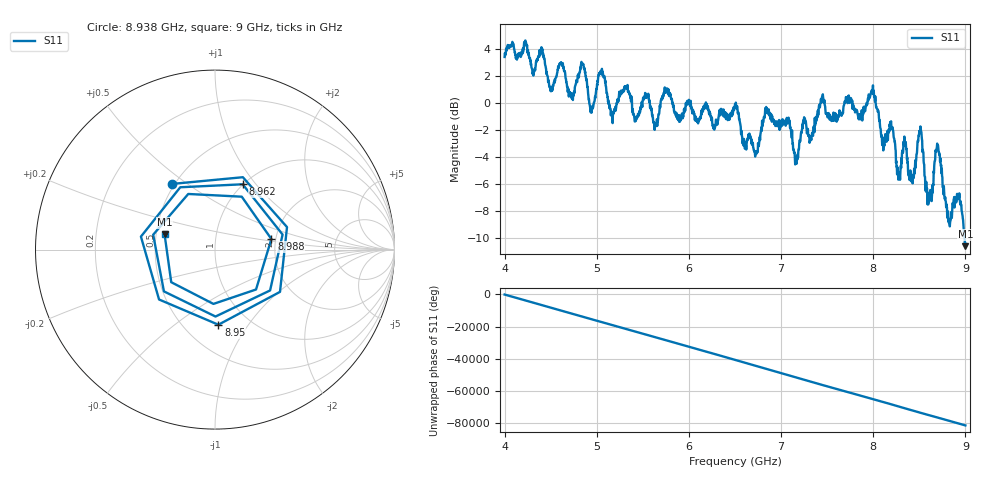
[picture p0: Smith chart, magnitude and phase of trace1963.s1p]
! Created with skrf 1.8.0 (http://scikit-rf.org).
# Hz S RI R 50.0
!freq ReS11 ImS11
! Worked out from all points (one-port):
!   1601 points, 4 GHz to 9 GHz, reference 50 ohm
!   lowest |S11| = -10.6 dB at 9 GHz (marker M1), VSWR 1.83, Z = 27.7 + j5.22 ohm
!   |S11| at or under -10 dB: 8.99148 GHz to end of sweep
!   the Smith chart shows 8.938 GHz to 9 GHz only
!   S11 on the Smith chart (normalised r, x): 8.938 GHz: 0.49, +0.44; 8.95 GHz: 0.72, -0.74; 8.962 GHz: 0.99, +0.86; 8.988 GHz: 1.89, +0.25; 9 GHz: 0.55, +0.10
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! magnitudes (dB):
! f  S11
! 4 GHz  3.4
! 4.506 GHz  0.9
! 4.625 GHz  2.7
! 4.722 GHz  0.5
! 4.85 GHz  2.8
! 4.944 GHz  -0.7
! 5.044 GHz  2.2
! 5.162 GHz  -0.8
! 5.25 GHz  0.5
! 5.875 GHz  -1.2
! 6.5 GHz  -0.1
! 6.722 GHz  -3.6
! 6.85 GHz  -0.5
! 7.125 GHz  -3.0
! 7.75 GHz  0.2
! 7.997 GHz  1.3
! 8.272 GHz  -5.7
! 8.375 GHz  -4.4
! 8.434 GHz  -5.6
! 8.506 GHz  -2.0
! 8.609 GHz  -6.7
! 8.697 GHz  -3.3
! 8.816 GHz  -8.8
! 8.938 GHz  -7.2
! 8.95 GHz  -7.6
! 8.962 GHz  -8.1
! 8.988 GHz  -9.9
! 9 GHz  -10.6
